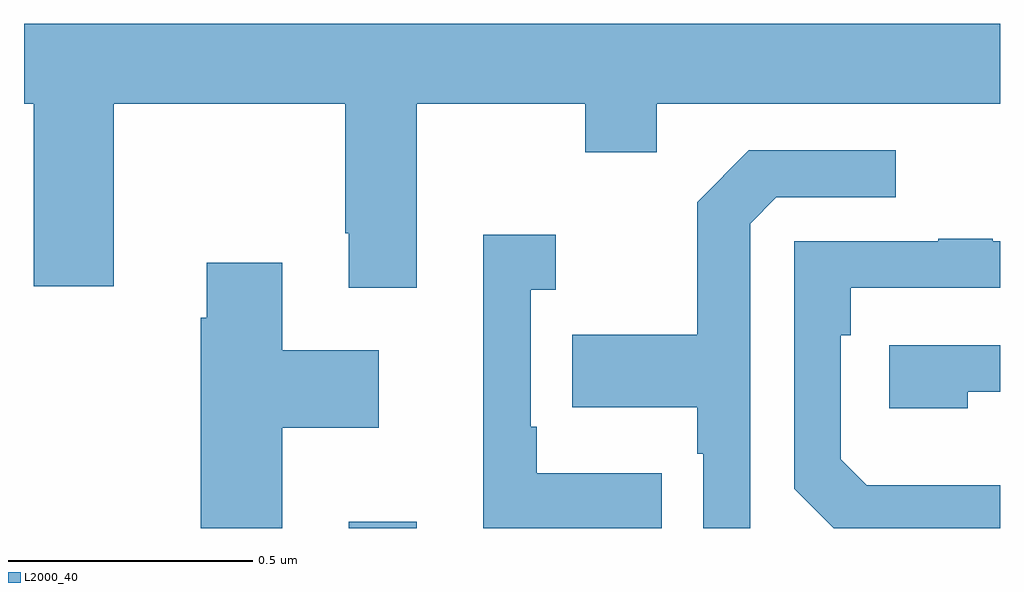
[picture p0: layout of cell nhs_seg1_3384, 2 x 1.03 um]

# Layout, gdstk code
import gdstk
lib = gdstk.Library(unit=1e-6, precision=1e-09)
def R(c, l, rs):  # rectangles x0, y0, x1, y1
    for r in rs: c.add(gdstk.rectangle(r[:2], r[2:], *l))
def P(c, l, *ps):  # polygons
    for p in ps: c.add(gdstk.Polygon(p, *l))
L2000_40 = (2000, 40)

nhs_seg1_3384 = lib.new_cell('nhs_seg1_3384')
R(nhs_seg1_3384, L2000_40, [(153.665,548.199,153.805,548.212)])
P(nhs_seg1_3384, L2000_40, [(153.805,549.068),(154.15,549.068),(154.15,548.969),(154.297,548.969),(154.297,549.068),(155,549.068),(155,549.232),(153,549.232),(153,549.068),(153.02,549.068),(153.02,548.694),(153.184,548.694),(153.184,549.068),(153.658,549.068),(153.658,548.803),(153.665,548.803),(153.665,548.691),(153.805,548.691)],
  [(154.488,548.823),(154.542,548.877),(154.786,548.877),(154.786,548.973),(154.485,548.973),(154.38,548.867),(154.38,548.595),(154.123,548.595),(154.123,548.447),(154.38,548.447),(154.38,548.351),(154.392,548.351),(154.392,548.199),(154.488,548.199)],
  [(154.307,548.311),(154.051,548.311),(154.051,548.407),(154.038,548.407),(154.038,548.687),(154.09,548.687),(154.09,548.8),(153.941,548.8),(153.941,548.199),(154.307,548.199)],
  [(155,548.287),(154.727,548.287),(154.674,548.34),(154.674,548.594),(154.694,548.594),(154.694,548.691),(155,548.691),(155,548.787),(154.985,548.787),(154.985,548.792),(154.873,548.792),(154.873,548.787),(154.578,548.787),(154.578,548.28),(154.659,548.199),(155,548.199)],
  [(153.529,548.405),(153.727,548.405),(153.727,548.563),(153.529,548.563),(153.529,548.743),(153.374,548.743),(153.374,548.63),(153.362,548.63),(153.362,548.199),(153.529,548.199)],
  [(154.934,548.478),(155,548.478),(155,548.574),(154.773,548.574),(154.773,548.444),(154.934,548.444)])

lib.write_gds('nhs_seg1_3384.gds')
